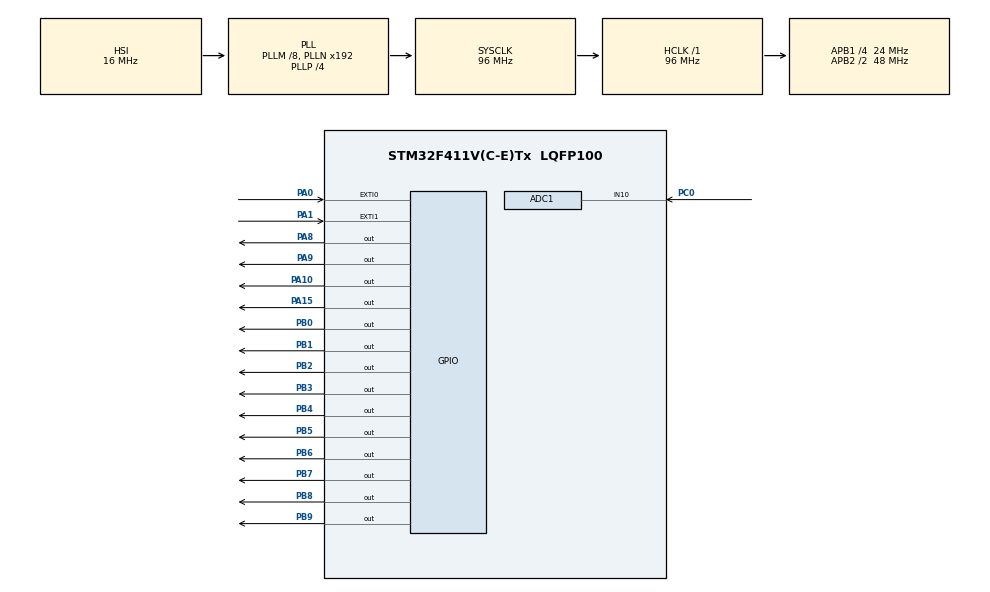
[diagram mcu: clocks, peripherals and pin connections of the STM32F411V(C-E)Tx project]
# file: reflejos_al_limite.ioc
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ADC1.Channel-0\#ChannelRegularConversion=ADC_CHANNEL_10
ADC1.NbrOfConversionFlag=1
ADC1.Rank-0\#ChannelRegularConversion=1
ADC1.SamplingTime-0\#ChannelRegularConversion=ADC_SAMPLETIME_3CYCLES
ADC1.master=1
Mcu.Family=STM32F4
Mcu.Name=STM32F411V(C-E)Tx
Mcu.Package=LQFP100
NVIC.PriorityGroup=NVIC_PRIORITYGROUP_0
NVIC.TIM3_IRQn=true\:0\:0\:false\:false\:true\:true\:true\:true
PA0-WKUP.Signal=GPXTI0
PA1.Signal=GPXTI1
PA10.Signal=GPIO_Output
PA15.Signal=GPIO_Output
PA8.Signal=GPIO_Output
PA9.Signal=GPIO_Output
PB0.Signal=GPIO_Output
PB1.Signal=GPIO_Output
PB2.Signal=GPIO_Output
PB3.Signal=GPIO_Output
PB4.Signal=GPIO_Output
PB5.Signal=GPIO_Output
PB6.Signal=GPIO_Output
PB7.Signal=GPIO_Output
PB8.Signal=GPIO_Output
PB9.Signal=GPIO_Output
PC0.Signal=ADCx_IN10
ProjectManager.HeapSize=0x200
ProjectManager.StackSize=0x400
ProjectManager.TargetToolchain=STM32CubeIDE
RCC.48MHZClocksFreq_Value=48000000
RCC.AHBFreq_Value=96000000
RCC.APB1CLKDivider=RCC_HCLK_DIV4
RCC.APB1Freq_Value=24000000
RCC.APB1TimFreq_Value=48000000
RCC.APB2CLKDivider=RCC_HCLK_DIV2
RCC.APB2Freq_Value=48000000
RCC.APB2TimFreq_Value=96000000
RCC.CortexFreq_Value=96000000
RCC.HCLKFreq_Value=96000000
RCC.HSE_VALUE=8000000
RCC.HSI_VALUE=16000000
RCC.PLLI2SM=5
RCC.PLLI2SN=200
RCC.PLLM=8
RCC.PLLP=RCC_PLLP_DIV4
RCC.PLLQ=8
RCC.SYSCLKFreq_VALUE=96000000
RCC.SYSCLKSource=RCC_SYSCLKSOURCE_PLLCLK
RCC.VCOOutputFreq_Value=384000000
SH.ADCx_IN10.0=ADC1_IN10,IN10
TIM2.Prescaler=47
TIM3.Period=999
TIM3.Prescaler=47
VP_TIM2_VS_ClockSourceINT.Mode=Internal
VP_TIM3_VS_ClockSourceINT.Mode=Internal
board=STM32F411E-DISCO

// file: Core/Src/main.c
/* USER CODE BEGIN Header */
/**
  ******************************************************************************
  * @file           : main.c
  * @brief          : Main program body
  ******************************************************************************
  * @attention
  *
  * Copyright (c) 2026 STMicroelectronics.
  * All rights reserved.
  *
  * This software is licensed under terms that can be found in the LICENSE file
  * in the root directory of this software component.
  * If no LICENSE file comes with this software, it is provided AS-IS.
  *
  ******************************************************************************
  */
/* USER CODE END Header */
#include "main.h"

/* USER CODE BEGIN Includes */
#include <stdlib.h>
#include <stdbool.h>
/* USER CODE END Includes */

/* USER CODE BEGIN PTD */
typedef enum {
    GAME_IDLE,
    GAME_READY,
    GAME_WAIT_RANDOM,
    GAME_LED_ON_WAIT_PRESS,
    GAME_SHOW_RESULT,
    GAME_ERROR
} GameState_t;

typedef enum {
    PLAYER_1 = 0,
    PLAYER_2 = 1
} Player_t;
/* USER CODE END PTD */

/* USER CODE BEGIN PD */
// Pines del display 7 segmentos
#define SEG_A_PORT GPIOB
#define SEG_A_PIN  GPIO_PIN_0
#define SEG_B_PORT GPIOB
#define SEG_B_PIN  GPIO_PIN_1
#define SEG_C_PORT GPIOB
#define SEG_C_PIN  GPIO_PIN_2
#define SEG_D_PORT GPIOB
#define SEG_D_PIN  GPIO_PIN_3
#define SEG_E_PORT GPIOB
#define SEG_E_PIN  GPIO_PIN_4
#define SEG_F_PORT GPIOB
#define SEG_F_PIN  GPIO_PIN_5
#define SEG_G_PORT GPIOB
#define SEG_G_PIN  GPIO_PIN_6
#define SEG_DP_PORT GPIOB
#define SEG_DP_PIN  GPIO_PIN_7

#define DIG1_PORT GPIOA
#define DIG1_PIN  GPIO_PIN_8
#define DIG2_PORT GPIOA
#define DIG2_PIN  GPIO_PIN_9
#define DIG3_PORT GPIOA
#define DIG3_PIN  GPIO_PIN_10
#define DIG4_PORT GPIOA
#define DIG4_PIN  GPIO_PIN_15

// Pines de LEDs
#define LED1_PORT GPIOB
#define LED1_PIN  GPIO_PIN_8
#define LED2_PORT GPIOB
#define LED2_PIN  GPIO_PIN_9

// Constantes del juego
#define DEBOUNCE_TIME_MS 50
#define MIN_WAIT_TIME_MS 500
#define MAX_WAIT_TIME_MS 2000
#define MIN_REACTION_TIME_US 50000   // 50ms mínimo
#define MAX_REACTION_TIME_US 1000000 // 1s máximo base
#define SCORE_LIMIT 99
/* USER CODE END PD */

ADC_HandleTypeDef hadc1;

TIM_HandleTypeDef htim2;
TIM_HandleTypeDef htim3;

/* USER CODE BEGIN PV */
// Variables del juego
GameState_t game_state = GAME_IDLE;
Player_t current_player = PLAYER_1;
uint8_t score_p1 = 0;
uint8_t score_p2 = 0;
uint32_t led_on_time = 0;
uint32_t button_press_time = 0;
uint32_t wait_start_time = 0;
uint32_t random_wait_time = 0;
bool game_running = false;
bool wrong_player_pressed = false;  // Flag para jugador incorrecto
int scoreP1 = 0;
int scoreP2 = 0;
// Variables para debounce
uint32_t last_button_time_p1 = 0;
uint32_t last_button_time_p2 = 0;

// Variables del display
uint8_t current_digit = 0;
uint8_t display_buffer[4] = {0, 0, 0, 0}; // P1: [0][1], P2: [2][3]

// Tabla de segmentos para dígitos 0-9 (cátodo común, 0=encendido)
const uint8_t digit_segments[10] = {
    0b00000011, // 0: a,b,c,d,e,f (invertido)
    0b10011111, // 1: b,c (invertido)
    0b00100101, // 2: a,b,d,e,g (invertido)
    0b00001101, // 3: a,b,c,d,g (invertido)
    0b10011001, // 4: b,c,f,g (invertido)
    0b01001001, // 5: a,c,d,f,g (invertido)
    0b01000001, // 6: a,c,d,e,f,g (invertido)
    0b00011111, // 7: a,b,c (invertido)
    0b00000001, // 8: a,b,c,d,e,f,g (invertido)
    0b00001001  // 9: a,b,c,d,f,g (invertido)
};

// Variables de dificultad
uint32_t max_reaction_time_us = MAX_REACTION_TIME_US;
uint32_t last_adc_value = 0;
bool showing_difficulty = false;
uint32_t last_difficulty_change_time = 0;
#define DIFFICULTY_DISPLAY_TIME_MS 2000
#define ADC_CHANGE_THRESHOLD 50  // Umbral para detectar cambios significativos
/* USER CODE END PV */

void SystemClock_Config(void);
static void MX_GPIO_Init(void);
static void MX_ADC1_Init(void);
static void MX_TIM2_Init(void);
static void MX_TIM3_Init(void);
/* USER CODE BEGIN PFP */
// Funciones del display
void Display_Clear(void);
void Display_WriteSegments(uint8_t segments);
void Display_SelectDigit(uint8_t digit);
void Display_UpdateBuffer(void);
void Display_Refresh(void);

// Funciones del juego
void Game_Init(void);
void Game_StateMachine(void);
void Game_StartNewRound(void);
void Game_ProcessButtonPress(Player_t player);
void Game_UpdateScore(Player_t player, bool correct);
void Game_Reset(void);

// Funciones de utilidad
uint32_t GetRandomWaitTime(void);
void UpdateDifficulty(void);
void SetLED(Player_t player, bool state);
uint32_t GetMicroseconds(void);
/* USER CODE END PFP */

/* USER CODE BEGIN 0 */

// ========== FUNCIONES DEL DISPLAY ==========
void Display_Clear(void) {
    HAL_GPIO_WritePin(SEG_A_PORT, SEG_A_PIN, GPIO_PIN_SET);
    HAL_GPIO_WritePin(SEG_B_PORT, SEG_B_PIN, GPIO_PIN_SET);
    HAL_GPIO_WritePin(SEG_C_PORT, SEG_C_PIN, GPIO_PIN_SET);
    HAL_GPIO_WritePin(SEG_D_PORT, SEG_D_PIN, GPIO_PIN_SET);
    HAL_GPIO_WritePin(SEG_E_PORT, SEG_E_PIN, GPIO_PIN_SET);
    HAL_GPIO_WritePin(SEG_F_PORT, SEG_F_PIN, GPIO_PIN_SET);
    HAL_GPIO_WritePin(SEG_G_PORT, SEG_G_PIN, GPIO_PIN_SET);
    HAL_GPIO_WritePin(SEG_DP_PORT, SEG_DP_PIN, GPIO_PIN_SET);

    HAL_GPIO_WritePin(DIG1_PORT, DIG1_PIN, GPIO_PIN_SET);
    HAL_GPIO_WritePin(DIG2_PORT, DIG2_PIN, GPIO_PIN_SET);
    HAL_GPIO_WritePin(DIG3_PORT, DIG3_PIN, GPIO_PIN_SET);
    HAL_GPIO_WritePin(DIG4_PORT, DIG4_PIN, GPIO_PIN_SET);
}

void Display_WriteSegments(uint8_t segments) {
    HAL_GPIO_WritePin(SEG_A_PORT, SEG_A_PIN, (segments & 0x80) ? GPIO_PIN_RESET : GPIO_PIN_SET);
    HAL_GPIO_WritePin(SEG_B_PORT, SEG_B_PIN, (segments & 0x40) ? GPIO_PIN_RESET : GPIO_PIN_SET);
    HAL_GPIO_WritePin(SEG_C_PORT, SEG_C_PIN, (segments & 0x20) ? GPIO_PIN_RESET : GPIO_PIN_SET);
    HAL_GPIO_WritePin(SEG_D_PORT, SEG_D_PIN, (segments & 0x10) ? GPIO_PIN_RESET : GPIO_PIN_SET);
    HAL_GPIO_WritePin(SEG_E_PORT, SEG_E_PIN, (segments & 0x08) ? GPIO_PIN_RESET : GPIO_PIN_SET);
    HAL_GPIO_WritePin(SEG_F_PORT, SEG_F_PIN, (segments & 0x04) ? GPIO_PIN_RESET : GPIO_PIN_SET);
    HAL_GPIO_WritePin(SEG_G_PORT, SEG_G_PIN, (segments & 0x02) ? GPIO_PIN_RESET : GPIO_PIN_SET);
    HAL_GPIO_WritePin(SEG_DP_PORT, SEG_DP_PIN, (segments & 0x01) ? GPIO_PIN_RESET : GPIO_PIN_SET);
}

void Display_SelectDigit(uint8_t digit) {
    // Apagar todos los dígitos primero
    HAL_GPIO_WritePin(DIG1_PORT, DIG1_PIN, GPIO_PIN_RESET);
    HAL_GPIO_WritePin(DIG2_PORT, DIG2_PIN, GPIO_PIN_RESET);
    HAL_GPIO_WritePin(DIG3_PORT, DIG3_PIN, GPIO_PIN_RESET);
    HAL_GPIO_WritePin(DIG4_PORT, DIG4_PIN, GPIO_PIN_RESET);

    // Encender el dígito seleccionado
    switch(digit) {
        case 0: HAL_GPIO_WritePin(DIG1_PORT, DIG1_PIN, GPIO_PIN_SET); break;
        case 1: HAL_GPIO_WritePin(DIG2_PORT, DIG2_PIN, GPIO_PIN_SET); break;
        case 2: HAL_GPIO_WritePin(DIG3_PORT, DIG3_PIN, GPIO_PIN_SET); break;
        case 3: HAL_GPIO_WritePin(DIG4_PORT, DIG4_PIN, GPIO_PIN_SET); break;
    }
}

void Display_UpdateBuffer(void) {
    if (showing_difficulty) {
        // Mostrar tiempo límite en milisegundos (ej: 0500 para 500ms)
        uint32_t time_limit_ms = max_reaction_time_us / 1000;

        display_buffer[0] = (time_limit_ms / 1000) % 10;  // Miles
        display_buffer[1] = (time_limit_ms / 100) % 10;   // Centenas
        display_buffer[2] = (time_limit_ms / 10) % 10;    // Decenas
        display_buffer[3] = time_limit_ms % 10;           // Unidades
    } else {
        // Actualizar buffer con las puntuaciones (intercambiadas para coincidir con posición física)
        display_buffer[0] = score_p2 / 10;  // Decenas P2 (botón derecha)
        display_buffer[1] = score_p2 % 10;  // Unidades P2 (botón derecha)
        display_buffer[2] = score_p1 / 10;  // Decenas P1 (botón izquierda)
        display_buffer[3] = score_p1 % 10;  // Unidades P1 (botón izquierda)
    }
}

void Display_Refresh(void) {
    // PASO 1: Apagar TODOS los dígitos primero (HIGH = apagado en cátodo común)
    HAL_GPIO_WritePin(DIG1_PORT, DIG1_PIN, GPIO_PIN_SET);
    HAL_GPIO_WritePin(DIG2_PORT, DIG2_PIN, GPIO_PIN_SET);
    HAL_GPIO_WritePin(DIG3_PORT, DIG3_PIN, GPIO_PIN_SET);
    HAL_GPIO_WritePin(DIG4_PORT, DIG4_PIN, GPIO_PIN_SET);

    // PASO 2: Limpiar TODOS los segmentos (HIGH = apagado en cátodo común)
    HAL_GPIO_WritePin(SEG_A_PORT, SEG_A_PIN, GPIO_PIN_SET);
    HAL_GPIO_WritePin(SEG_B_PORT, SEG_B_PIN, GPIO_PIN_SET);
    HAL_GPIO_WritePin(SEG_C_PORT, SEG_C_PIN, GPIO_PIN_SET);
    HAL_GPIO_WritePin(SEG_D_PORT, SEG_D_PIN, GPIO_PIN_SET);
    HAL_GPIO_WritePin(SEG_E_PORT, SEG_E_PIN, GPIO_PIN_SET);
    HAL_GPIO_WritePin(SEG_F_PORT, SEG_F_PIN, GPIO_PIN_SET);
    HAL_GPIO_WritePin(SEG_G_PORT, SEG_G_PIN, GPIO_PIN_SET);
    HAL_GPIO_WritePin(SEG_DP_PORT, SEG_DP_PIN, GPIO_PIN_SET);

    // PASO 3: Pequeña pausa para estabilizar
    for(volatile int i = 0; i < 10; i++);

    // PASO 4: Escribir segmentos del dígito actual
    Display_WriteSegments(digit_segments[display_buffer[current_digit]]);

    // PASO 5: Encender SOLO el dígito correspondiente (LOW = encendido en cátodo común)
    switch(current_digit) {
        case 0: HAL_GPIO_WritePin(DIG1_PORT, DIG1_PIN, GPIO_PIN_RESET); break;
        case 1: HAL_GPIO_WritePin(DIG2_PORT, DIG2_PIN, GPIO_PIN_RESET); break;
        case 2: HAL_GPIO_WritePin(DIG3_PORT, DIG3_PIN, GPIO_PIN_RESET); break;
        case 3: HAL_GPIO_WritePin(DIG4_PORT, DIG4_PIN, GPIO_PIN_RESET); break;
    }

    // PASO 6: Pasar al siguiente dígito
    current_digit = (current_digit + 1) % 4;
}

// ========== FUNCIONES DEL JUEGO ==========
void Game_Init(void) {
    game_state = GAME_IDLE;
    score_p1 = 0;
    score_p2 = 0;
    current_player = PLAYER_1;
    game_running = false;

    // Apagar LEDs
    SetLED(PLAYER_1, false);
    SetLED(PLAYER_2, false);

    // Actualizar display
    Display_UpdateBuffer();

    // Inicializar generador aleatorio con ADC
    HAL_ADC_Start(&hadc1);
    HAL_ADC_PollForConversion(&hadc1, 100);
    uint32_t adc_val = HAL_ADC_GetValue(&hadc1);
    HAL_ADC_Stop(&hadc1);
    srand(adc_val + HAL_GetTick());

    // Inicializar valor del ADC para detección de cambios
    last_adc_value = adc_val;
}

void Game_StartNewRound(void) {
    // Resetear flag de jugador incorrecto
    wrong_player_pressed = false;

    // Seleccionar jugador aleatorio
    current_player = (rand() % 2) ? PLAYER_1 : PLAYER_2;

    // Generar tiempo de espera aleatorio
    random_wait_time = GetRandomWaitTime();
    wait_start_time = HAL_GetTick();

    game_state = GAME_WAIT_RANDOM;
}

void Game_ProcessButtonPress(Player_t player) {
    uint32_t press_time = GetMicroseconds();

    switch(game_state) {
        case GAME_IDLE:
            // Iniciar juego
            game_running = true;
            Game_StartNewRound();
            break;

        case GAME_WAIT_RANDOM:
            // Pulsación prematura
            if (player == current_player) {
                Game_UpdateScore(player, false);
                game_state = GAME_SHOW_RESULT;
            }
            break;

        case GAME_LED_ON_WAIT_PRESS:
            if (player == current_player) {
                // Jugador correcto pulsó
                uint32_t reaction_time = press_time - led_on_time;

                // Apagar LED
                SetLED(player, false);

                // Evaluar reacción
                if (reaction_time >= MIN_REACTION_TIME_US && reaction_time <= max_reaction_time_us) {
                    Game_UpdateScore(player, true);
                } else {
                    Game_UpdateScore(player, false);
                }

                game_state = GAME_SHOW_RESULT;
            } else {
                // Jugador incorrecto pulsó - restar punto pero no terminar ronda aún
                if (player == PLAYER_1 && score_p1 > 0) {
                    score_p1--;
                } else if (player == PLAYER_2 && score_p2 > 0) {
                    score_p2--;
                }

                // Marcar que el jugador incorrecto ya pulsó
                wrong_player_pressed = true;

                // Actualizar display si no se está mostrando dificultad
                if (!showing_difficulty) {
                    Display_UpdateBuffer();
                }

                // NO cambiar estado - permitir que el jugador correcto aún pueda acertar
            }
            break;

        default:
            break;
    }
}

void Game_UpdateScore(Player_t player, bool correct) {
    if (correct) {
        if (player == PLAYER_1 && score_p1 < SCORE_LIMIT) {
            score_p1++;
        } else if (player == PLAYER_2 && score_p2 < SCORE_LIMIT) {
            score_p2++;
        }
    }

    if (!showing_difficulty) {
        Display_UpdateBuffer();
    }
}
void Game_DisplayPlayerQuality(PlayerQuality_t quality) {

    switch (quality) {
        case PLAYER_QUALITY_POOR:
            Display_Print("POOR");
            break;

        case PLAYER_QUALITY_AVERAGE:
            Display_Print("AVERAGE");
            break;

        case PLAYER_QUALITY_GOOD:
            Display_Print("GOOD");
            break;

        case PLAYER_QUALITY_EXCELLENT:
            Display_Print("EXCELLENT");
            break;
    }
}

void Game_Reset(void) {
    score_p1 = 0;
    score_p2 = 0;
    game_running = false;
    game_state = GAME_IDLE;

    SetLED(PLAYER_1, false);
    SetLED(PLAYER_2, false);

    if (!showing_difficulty) {
        Display_UpdateBuffer();
    }
}

void Game_StateMachine(void) {
    static uint32_t result_start_time = 0;

    switch(game_state) {
        case GAME_IDLE:
            // Esperando inicio del juego
            break;

        case GAME_WAIT_RANDOM:
            if ((HAL_GetTick() - wait_start_time) >= random_wait_time) {
                // Encender LED y cambiar estado
                SetLED(current_player, true);
                led_on_time = GetMicroseconds();
                game_state = GAME_LED_ON_WAIT_PRESS;
            }
            break;

        case GAME_LED_ON_WAIT_PRESS:
            // Verificar timeout
            if ((GetMicroseconds() - led_on_time) > max_reaction_time_us) {
                SetLED(current_player, false);

                // Si el jugador incorrecto pulsó pero el correcto no, solo penalizar al correcto por timeout
                if (!wrong_player_pressed) {
                    Game_UpdateScore(current_player, false);
                } else {
                    // El jugador incorrecto ya fue penalizado, solo penalizar al correcto por timeout
                    Game_UpdateScore(current_player, false);
                }

                // Resetear flag
                wrong_player_pressed = false;
                game_state = GAME_SHOW_RESULT;
            }
            break;

        case GAME_SHOW_RESULT:
            if (result_start_time == 0) {
                result_start_time = HAL_GetTick();
            }

            // Mostrar resultado por 1 segundo
            if ((HAL_GetTick() - result_start_time) >= 1000) {
                result_start_time = 0;
                if (game_running) {
                    Game_StartNewRound();
                } else {
                    game_state = GAME_IDLE;
                }
            }
            break;

        default:
            game_state = GAME_IDLE;
            break;
    }
}

// ========== FUNCIONES DE UTILIDAD ==========
uint32_t GetRandomWaitTime(void) {
    return MIN_WAIT_TIME_MS + (rand() % (MAX_WAIT_TIME_MS - MIN_WAIT_TIME_MS));
}

void UpdateDifficulty(void) {
    HAL_ADC_Start(&hadc1);
    if (HAL_ADC_PollForConversion(&hadc1, 100) == HAL_OK) {
        uint32_t adc_value = HAL_ADC_GetValue(&hadc1);

        // Detectar cambios significativos en el potenciómetro
        if (abs((int32_t)adc_value - (int32_t)last_adc_value) > ADC_CHANGE_THRESHOLD) {
            last_adc_value = adc_value;
            last_difficulty_change_time = HAL_GetTick();
            showing_difficulty = true;
        }

        // Mapear ADC (0-4095) a tiempo máximo (250ms - 1.5s)
        // Usar aritmética de 64 bits para evitar overflow
        max_reaction_time_us = 250000 + ((uint64_t)adc_value * 1250000) / 4095;
    }
    HAL_ADC_Stop(&hadc1);
}

void SetLED(Player_t player, bool state) {
    GPIO_PinState pin_state = state ? GPIO_PIN_SET : GPIO_PIN_RESET;

    if (player == PLAYER_1) {
        HAL_GPIO_WritePin(LED1_PORT, LED1_PIN, pin_state);
    } else {
        HAL_GPIO_WritePin(LED2_PORT, LED2_PIN, pin_state);
    }
}

uint32_t GetMicroseconds(void) {
    return __HAL_TIM_GET_COUNTER(&htim2);
}
uint8_t sevenSegDigits[10] = {
    0b00111111, // 0
    0b00000110, // 1
    0b01011011, // 2
    0b01001111, // 3
    0b01100110, // 4
    0b01101101, // 5
    0b01111101, // 6
    0b00000111, // 7
    0b01111111, // 8
    0b01101111  // 9
};
/* USER CODE END 0 */

int main(void)
{
while (1)
{
    Reflexes_Game();

    for (int i = 0; i < 100; i++)
    {
        Display_Show(1, scoreP1);
        Display_Show(2, scoreP2);
    }
}

  /* MCU Configuration--------------------------------------------------------*/

  /* Reset of all peripherals, Initializes the Flash interface and the Systick. */
  HAL_Init();

  /* Configure the system clock */
  SystemClock_Config();

  /* Initialize all configured peripherals */
  MX_GPIO_Init();
  MX_ADC1_Init();
  MX_TIM2_Init();
  MX_TIM3_Init();
  /* USER CODE BEGIN 2 */

  // Inicializar el juego
  Game_Init();

  // Iniciar temporizadores
  HAL_TIM_Base_Start(&htim2);      // Timer para microsegundos
  HAL_TIM_Base_Start_IT(&htim3);   // Timer para multiplexado del display

  // Habilitar interrupciones EXTI
  HAL_NVIC_EnableIRQ(EXTI0_IRQn);
  HAL_NVIC_EnableIRQ(EXTI1_IRQn);

  /* USER CODE END 2 */

  /* Infinite loop */
  while (1)
  {

    /* USER CODE BEGIN 3 */
    // Ejecutar máquina de estados del juego
    Game_StateMachine();

    // Actualizar dificultad cada 100ms
    static uint32_t last_difficulty_update = 0;
    if ((HAL_GetTick() - last_difficulty_update) >= 100) {
        UpdateDifficulty();
        last_difficulty_update = HAL_GetTick();

    }

    // Controlar visualización de dificultad
    if (showing_difficulty) {
        if ((HAL_GetTick() - last_difficulty_change_time) >= DIFFICULTY_DISPLAY_TIME_MS) {
            showing_difficulty = false;
        }
        Display_UpdateBuffer();  // Actualizar display cuando se muestre dificultad
    }

    // Reset del juego si se mantienen presionados ambos botones por 2 segundos
    static uint32_t reset_start = 0;
    if (HAL_GPIO_ReadPin(GPIOA, GPIO_PIN_0) == GPIO_PIN_RESET &&
        HAL_GPIO_ReadPin(GPIOA, GPIO_PIN_1) == GPIO_PIN_RESET) {
        if (reset_start == 0) {
            reset_start = HAL_GetTick();
        } else if ((HAL_GetTick() - reset_start) >= 2000) { // 2 segundos
            Game_Reset();
            reset_start = 0;
        }
    } else {
        // Reset del contador si no están presionados ambos
        reset_start = 0;
    }

    HAL_Delay(1); // Pequeña pausa para evitar saturar la CPU
  }
    Reflexes_TimeOut_LED();
    HAL_Delay(2000); // pausa entre rondas (opcional)

  /* USER CODE END 3 */
}

void SystemClock_Config(void)
{
  RCC_OscInitTypeDef RCC_OscInitStruct = {0};
  RCC_ClkInitTypeDef RCC_ClkInitStruct = {0};

  /** Configure the main internal regulator output voltage
  */
  __HAL_RCC_PWR_CLK_ENABLE();
  __HAL_PWR_VOLTAGESCALING_CONFIG(PWR_REGULATOR_VOLTAGE_SCALE1);

  /** Initializes the RCC Oscillators according to the specified parameters
  * in the RCC_OscInitTypeDef structure.
  */
  RCC_OscInitStruct.OscillatorType = RCC_OSCILLATORTYPE_HSI;
  RCC_OscInitStruct.HSIState = RCC_HSI_ON;
  RCC_OscInitStruct.HSICalibrationValue = RCC_HSICALIBRATION_DEFAULT;
  RCC_OscInitStruct.PLL.PLLState = RCC_PLL_ON;
  RCC_OscInitStruct.PLL.PLLSource = RCC_PLLSOURCE_HSI;
  RCC_OscInitStruct.PLL.PLLM = 8;
  RCC_OscInitStruct.PLL.PLLN = 192;
  RCC_OscInitStruct.PLL.PLLP = RCC_PLLP_DIV4;
  RCC_OscInitStruct.PLL.PLLQ = 8;
  if (HAL_RCC_OscConfig(&RCC_OscInitStruct) != HAL_OK)
  {
    Error_Handler();
  }

  /** Initializes the CPU, AHB and APB buses clocks
  */
  RCC_ClkInitStruct.ClockType = RCC_CLOCKTYPE_HCLK|RCC_CLOCKTYPE_SYSCLK
                              |RCC_CLOCKTYPE_PCLK1|RCC_CLOCKTYPE_PCLK2;
  RCC_ClkInitStruct.SYSCLKSource = RCC_SYSCLKSOURCE_PLLCLK;
  RCC_ClkInitStruct.AHBCLKDivider = RCC_SYSCLK_DIV1;
  RCC_ClkInitStruct.APB1CLKDivider = RCC_HCLK_DIV4;
  RCC_ClkInitStruct.APB2CLKDivider = RCC_HCLK_DIV2;

  if (HAL_RCC_ClockConfig(&RCC_ClkInitStruct, FLASH_LATENCY_3) != HAL_OK)
  {
    Error_Handler();
  }
}

static void MX_ADC1_Init(void)
{

  ADC_ChannelConfTypeDef sConfig = {0};

  /** Configure the global features of the ADC (Clock, Resolution, Data Alignment and number of conversion)
  */
  hadc1.Instance = ADC1;
  hadc1.Init.ClockPrescaler = ADC_CLOCK_SYNC_PCLK_DIV2;
  hadc1.Init.Resolution = ADC_RESOLUTION_12B;
  hadc1.Init.ScanConvMode = DISABLE;
  hadc1.Init.ContinuousConvMode = DISABLE;
  hadc1.Init.DiscontinuousConvMode = DISABLE;
  hadc1.Init.ExternalTrigConvEdge = ADC_EXTERNALTRIGCONVEDGE_NONE;
  hadc1.Init.ExternalTrigConv = ADC_SOFTWARE_START;
  hadc1.Init.DataAlign = ADC_DATAALIGN_RIGHT;
  hadc1.Init.NbrOfConversion = 1;
  hadc1.Init.DMAContinuousRequests = DISABLE;
  hadc1.Init.EOCSelection = ADC_EOC_SINGLE_CONV;
  if (HAL_ADC_Init(&hadc1) != HAL_OK)
  {
    Error_Handler();
  }

  /** Configure for the selected ADC regular channel its corresponding rank in the sequencer and its sample time.
  */
  sConfig.Channel = ADC_CHANNEL_10;
  sConfig.Rank = 1;
  sConfig.SamplingTime = ADC_SAMPLETIME_3CYCLES;
  if (HAL_ADC_ConfigChannel(&hadc1, &sConfig) != HAL_OK)
  {
    Error_Handler();
  }

}

static void MX_TIM2_Init(void)
{

  TIM_ClockConfigTypeDef sClockSourceConfig = {0};
  TIM_MasterConfigTypeDef sMasterConfig = {0};

  htim2.Instance = TIM2;
  htim2.Init.Prescaler = 47;
  htim2.Init.CounterMode = TIM_COUNTERMODE_UP;
  htim2.Init.Period = 4294967295;
  htim2.Init.ClockDivision = TIM_CLOCKDIVISION_DIV1;
  htim2.Init.AutoReloadPreload = TIM_AUTORELOAD_PRELOAD_DISABLE;
  if (HAL_TIM_Base_Init(&htim2) != HAL_OK)
  {
    Error_Handler();
  }
  sClockSourceConfig.ClockSource = TIM_CLOCKSOURCE_INTERNAL;
  if (HAL_TIM_ConfigClockSource(&htim2, &sClockSourceConfig) != HAL_OK)
  {
    Error_Handler();
  }
  sMasterConfig.MasterOutputTrigger = TIM_TRGO_RESET;
  sMasterConfig.MasterSlaveMode = TIM_MASTERSLAVEMODE_DISABLE;
  if (HAL_TIMEx_MasterConfigSynchronization(&htim2, &sMasterConfig) != HAL_OK)
  {
    Error_Handler();
  }

}

static void MX_TIM3_Init(void)
{

  TIM_ClockConfigTypeDef sClockSourceConfig = {0};
  TIM_MasterConfigTypeDef sMasterConfig = {0};

  htim3.Instance = TIM3;
  htim3.Init.Prescaler = 47;
  htim3.Init.CounterMode = TIM_COUNTERMODE_UP;
  htim3.Init.Period = 999;
  htim3.Init.ClockDivision = TIM_CLOCKDIVISION_DIV1;
  htim3.Init.AutoReloadPreload = TIM_AUTORELOAD_PRELOAD_DISABLE;
  if (HAL_TIM_Base_Init(&htim3) != HAL_OK)
  {
    Error_Handler();
  }
  sClockSourceConfig.ClockSource = TIM_CLOCKSOURCE_INTERNAL;
  if (HAL_TIM_ConfigClockSource(&htim3, &sClockSourceConfig) != HAL_OK)
  {
    Error_Handler();
  }
  sMasterConfig.MasterOutputTrigger = TIM_TRGO_RESET;
  sMasterConfig.MasterSlaveMode = TIM_MASTERSLAVEMODE_DISABLE;
  if (HAL_TIMEx_MasterConfigSynchronization(&htim3, &sMasterConfig) != HAL_OK)
  {
    Error_Handler();
  }

}

static void MX_GPIO_Init(void)
{
  GPIO_InitTypeDef GPIO_InitStruct = {0};

  /* GPIO Ports Clock Enable */
  __HAL_RCC_GPIOC_CLK_ENABLE();
  __HAL_RCC_GPIOA_CLK_ENABLE();
  __HAL_RCC_GPIOB_CLK_ENABLE();

  /*Configure GPIO pin Output Level */
  HAL_GPIO_WritePin(GPIOB, GPIO_PIN_0|GPIO_PIN_1|GPIO_PIN_2|GPIO_PIN_3
                          |GPIO_PIN_4|GPIO_PIN_5|GPIO_PIN_6|GPIO_PIN_7
                          |GPIO_PIN_8|GPIO_PIN_9, GPIO_PIN_RESET);

  /*Configure GPIO pin Output Level */
  HAL_GPIO_WritePin(GPIOA, GPIO_PIN_8|GPIO_PIN_9|GPIO_PIN_10|GPIO_PIN_15, GPIO_PIN_RESET);

  /*Configure GPIO pins : PA0 PA1 */
  GPIO_InitStruct.Pin = GPIO_PIN_0|GPIO_PIN_1;
  GPIO_InitStruct.Mode = GPIO_MODE_IT_FALLING;
  GPIO_InitStruct.Pull = GPIO_PULLUP;
  HAL_GPIO_Init(GPIOA, &GPIO_InitStruct);

  /*Configure GPIO pins : PB0 PB1 PB2 PB3 PB4 PB5 PB6 PB7 PB8 PB9 */
  GPIO_InitStruct.Pin = GPIO_PIN_0|GPIO_PIN_1|GPIO_PIN_2|GPIO_PIN_3
                          |GPIO_PIN_4|GPIO_PIN_5|GPIO_PIN_6|GPIO_PIN_7
                          |GPIO_PIN_8|GPIO_PIN_9;
  GPIO_InitStruct.Mode = GPIO_MODE_OUTPUT_PP;
  GPIO_InitStruct.Pull = GPIO_NOPULL;
  GPIO_InitStruct.Speed = GPIO_SPEED_FREQ_LOW;
  HAL_GPIO_Init(GPIOB, &GPIO_InitStruct);

  /*Configure GPIO pins : PA8 PA9 PA10 PA15 */
  GPIO_InitStruct.Pin = GPIO_PIN_8|GPIO_PIN_9|GPIO_PIN_10|GPIO_PIN_15;
  GPIO_InitStruct.Mode = GPIO_MODE_OUTPUT_PP;
  GPIO_InitStruct.Pull = GPIO_NOPULL;
  GPIO_InitStruct.Speed = GPIO_SPEED_FREQ_LOW;
  HAL_GPIO_Init(GPIOA, &GPIO_InitStruct);

}

/* USER CODE BEGIN 4 */
void SevenSeg_Write(uint8_t value)
{
    HAL_GPIO_WritePin(SEG_A_PORT, SEG_A_PIN, (value & 0x01) ? GPIO_PIN_SET : GPIO_PIN_RESET);
    HAL_GPIO_WritePin(SEG_B_PORT, SEG_B_PIN, (value & 0x02) ? GPIO_PIN_SET : GPIO_PIN_RESET);
    HAL_GPIO_WritePin(SEG_C_PORT, SEG_C_PIN, (value & 0x04) ? GPIO_PIN_SET : GPIO_PIN_RESET);
    HAL_GPIO_WritePin(SEG_D_PORT, SEG_D_PIN, (value & 0x08) ? GPIO_PIN_SET : GPIO_PIN_RESET);
    HAL_GPIO_WritePin(SEG_E_PORT, SEG_E_PIN, (value & 0x10) ? GPIO_PIN_SET : GPIO_PIN_RESET);
    HAL_GPIO_WritePin(SEG_F_PORT, SEG_F_PIN, (value & 0x20) ? GPIO_PIN_SET : GPIO_PIN_RESET);
    HAL_GPIO_WritePin(SEG_G_PORT, SEG_G_PIN, (value & 0x40) ? GPIO_PIN_SET : GPIO_PIN_RESET);
}
// Callback para interrupciones EXTI (botones)
void HAL_GPIO_EXTI_Callback(uint16_t GPIO_Pin) {
    uint32_t current_time = HAL_GetTick();

    // Debounce y procesamiento de botones
    if (GPIO_Pin == GPIO_PIN_0) { // Jugador 1
        if ((current_time - last_button_time_p1) > DEBOUNCE_TIME_MS) {
            last_button_time_p1 = current_time;
            Game_ProcessButtonPress(PLAYER_1);
        }
    }
    else if (GPIO_Pin == GPIO_PIN_1) { // Jugador 2
        if ((current_time - last_button_time_p2) > DEBOUNCE_TIME_MS) {
            last_button_time_p2 = current_time;
            Game_ProcessButtonPress(PLAYER_2);
        }
    }
}
void Display_Show(uint8_t player, int score)
{
    if (score < 0) score = 0;
    if (score > 99) score = 99;

    uint8_t decenas = score / 10;
    uint8_t unidades = score % 10;

    if (player == 1)
    {
        HAL_GPIO_WritePin(DIG1_PORT, DIG1_PIN, GPIO_PIN_SET);
        HAL_GPIO_WritePin(DIG2_PORT, DIG2_PIN, GPIO_PIN_RESET);
    }
    else
    {
        HAL_GPIO_WritePin(DIG3_PORT, DIG3_PIN, GPIO_PIN_SET);
        HAL_GPIO_WritePin(DIG4_PORT, DIG4_PIN, GPIO_PIN_RESET);
    }

    SevenSeg_Write(sevenSegDigits[decenas]);
    HAL_Delay(3);

    if (player == 1)
    {
        HAL_GPIO_WritePin(DIG1_PORT, DIG1_PIN, GPIO_PIN_RESET);
        HAL_GPIO_WritePin(DIG2_PORT, DIG2_PIN, GPIO_PIN_SET);
    }
    else
    {
        HAL_GPIO_WritePin(DIG3_PORT, DIG3_PIN, GPIO_PIN_RESET);
        HAL_GPIO_WritePin(DIG4_PORT, DIG4_PIN, GPIO_PIN_SET);
    }

    SevenSeg_Write(sevenSegDigits[unidades]);
    HAL_Delay(3);
}
void Reflexes_Game(void)
{
    uint32_t startTime;

    HAL_GPIO_WritePin(LED1_PORT, LED1_PIN, GPIO_PIN_SET);
    startTime = HAL_GetTick();

    while ((HAL_GetTick() - startTime) < 2000)
    {
        if (HAL_GPIO_ReadPin(GPIOC, GPIO_PIN_13) == GPIO_PIN_RESET)
        {
            scoreP1++;
            HAL_GPIO_WritePin(LED1_PORT, LED1_PIN, GPIO_PIN_RESET);
            return;
        }

        if (HAL_GPIO_ReadPin(GPIOC, GPIO_PIN_14) == GPIO_PIN_RESET)
        {
            scoreP2++;
            HAL_GPIO_WritePin(LED1_PORT, LED1_PIN, GPIO_PIN_RESET);
            return;
        }
    }

    // Fallo
    for (int i = 0; i < 6; i++)
    {
        HAL_GPIO_TogglePin(LED1_PORT, LED1_PIN);
        HAL_Delay(150);
    }

    scoreP1--;
    scoreP2--;
}
// Callback para TIM3 (multiplexado del display)
void HAL_TIM_PeriodElapsedCallback(TIM_HandleTypeDef *htim) {
    if (htim->Instance == TIM3) {
        Display_Refresh();
    }
}

// Handlers de interrupciones EXTI
void EXTI0_IRQHandler(void) {
    HAL_GPIO_EXTI_IRQHandler(GPIO_PIN_0);
}

void EXTI1_IRQHandler(void) {
    HAL_GPIO_EXTI_IRQHandler(GPIO_PIN_1);
}

/* USER CODE END 4 */

void Error_Handler(void)
{
  __disable_irq();
  while (1)
  {
  }
}

void Reflexes_TimeOut_LED(void)
{
    uint32_t startTime = HAL_GetTick();

    // Apagar LED al empezar (por seguridad)
    HAL_GPIO_WritePin(LED_RED_GPIO_Port, LED_RED_Pin, GPIO_PIN_RESET);

    // Esperar hasta 3 segundos
    while ((HAL_GetTick() - startTime) < 3000)
    {
        // Si se pulsa el botón antes de 3 s, salir sin encender LED
        if (HAL_GPIO_ReadPin(BUTTON_GPIO_Port, BUTTON_Pin) == GPIO_PIN_RESET)
        {
            return; // Botón pulsado a tiempo
        }
    }

    // Si llega aquí, NO se pulsó el botón en 3 s
    HAL_GPIO_WritePin(LED_RED_GPIO_Port, LED_RED_Pin, GPIO_PIN_SET);
}
